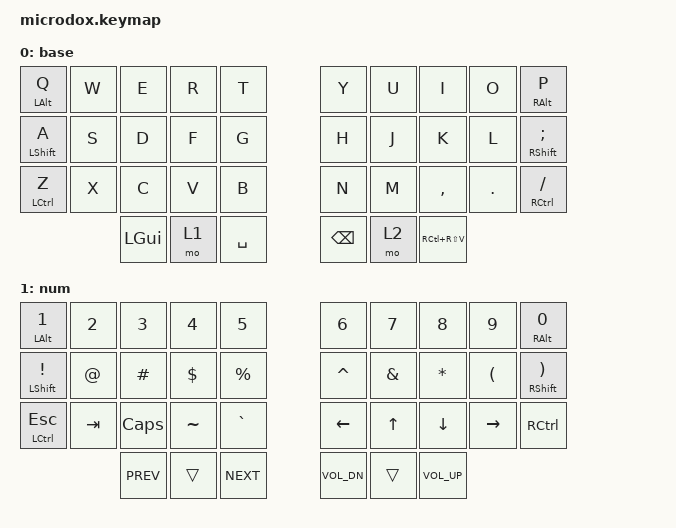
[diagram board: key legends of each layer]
/*
 * Copyright (c) 2020 The ZMK Contributors
 * SPDX-License-Identifier: MIT
 */

#include <behaviors.dtsi>
#include <dt-bindings/zmk/keys.h>
#include <dt-bindings/zmk/bt.h>

&mt {
	quick_tap_ms = <150>;
	retro-tap;
};

/ {
	combos {
		#include "combos.h"
		COMBO(ENTR, &kp RET, 4 7)
		COMBO(QUOT, &kp SQT, 17 18)
		COMBO(DQUO, &kp DQT, 27 32)
		COMBO(LBRC, &kp LBRC, 3 4)
		COMBO(RBRC, &kp RBRC, 4 5)
		COMBO(LBKT, &kp LBKT, 6 7)
		COMBO(RBKT, &kp RBKT, 7 8)
		COMBO(BKSL, &kp BSLH, 3 8)
		COMBO(COLN, &kp COLON, 5 6)
		COMBO(PLUS, &kp PLUS, 14 21)
		COMBO(QUES, &kp QMARK, 28 31)
		COMBO(UNDS, &kp UNDER, 29 30)
		COMBO(MINS, &kp MINUS, 16 19)
		COMBO(EQAL, &kp EQUAL, 15 20)
	};
};

/ {
  keymap {
    compatible = "zmk,keymap";
      base {
        bindings = <
					&mt LALT Q  &kp W &kp E &kp R &kp T   	&kp Y &kp U  &kp I     &kp O   &mt RALT P
					&mt LSHFT A &kp S &kp D &kp F &kp G   	&kp H &kp J  &kp K     &kp L   &mt RSHFT SEMI
					&mt LCTL Z  &kp X &kp C &kp V &kp B   	&kp N &kp M  &kp COMMA &kp DOT &mt RCTL FSLH
							&kp LGUI &mo 1 &kp SPACE &kp BSPC 	&mo 2 &kp RC(RS(V))
        >;
      };
      num {
        bindings = <
					&mt LALT N1    &kp N2   &kp N3     &kp N4     &kp N5        &kp N6    &kp N7        &kp N8     &kp N9    &mt RALT N0
					&mt LSHFT EXCL &kp AT   &kp HASH   &kp DLLR   &kp PRCNT			&kp CARET &kp AMPERSAND &kp ASTRK  &kp LPAR  &mt RSHFT RPAR
					&mt LCTL ESC   &kp TAB  &kp CAPS   &kp TILDE  &kp GRAVE     &kp LEFT  &kp UP        &kp DOWN   &kp RIGHT &kp RCTL
                            				 &kp C_PREV &trans &kp C_NEXT     &kp C_VOL_DN &trans &kp C_VOL_UP
        >;
      };
  };
};
